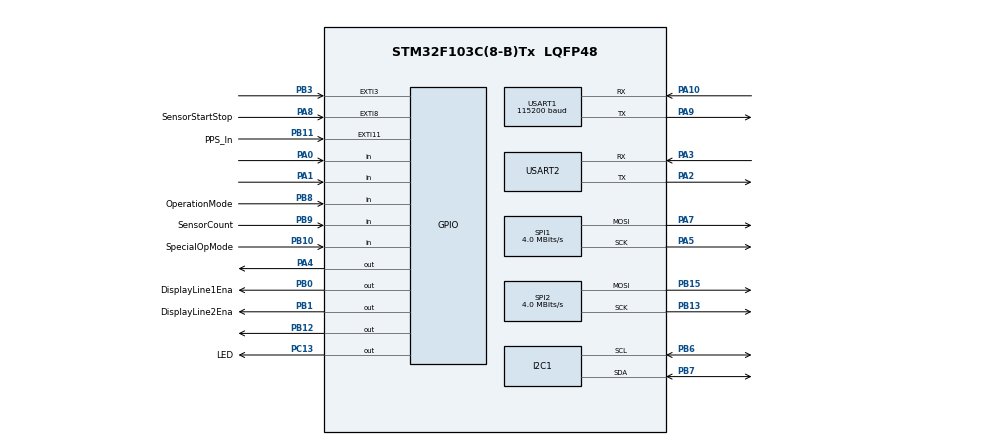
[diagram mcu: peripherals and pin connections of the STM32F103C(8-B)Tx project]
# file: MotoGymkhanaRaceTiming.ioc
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Mcu.Family=STM32F1
Mcu.Name=STM32F103C(8-B)Tx
Mcu.Package=LQFP48
NVIC.EXTI15_10_IRQn=true\:2\:0\:true\:false\:true\:true\:true
NVIC.EXTI3_IRQn=true\:1\:0\:true\:false\:true\:true\:true
NVIC.EXTI9_5_IRQn=true\:2\:0\:true\:false\:true\:true\:true
NVIC.PriorityGroup=NVIC_PRIORITYGROUP_4
NVIC.TIM2_IRQn=true\:0\:0\:false\:false\:true\:true\:true
NVIC.USART1_IRQn=true\:3\:0\:true\:false\:true\:true\:true
NVIC.USART2_IRQn=true\:3\:0\:true\:false\:true\:true\:true
PA0-WKUP.Signal=GPIO_Input
PA1.Signal=GPIO_Input
PA10.Mode=Asynchronous
PA10.Signal=USART1_RX
PA13.Mode=Serial_Wire
PA13.Signal=SYS_JTMS-SWDIO
PA14.Mode=Serial_Wire
PA14.Signal=SYS_JTCK-SWCLK
PA2.Mode=Asynchronous
PA2.Signal=USART2_TX
PA3.Mode=Asynchronous
PA3.Signal=USART2_RX
PA4.Signal=GPIO_Output
PA5.Mode=TX_Only_Simplex_Unidirect_Master
PA5.Signal=SPI1_SCK
PA7.Mode=TX_Only_Simplex_Unidirect_Master
PA7.Signal=SPI1_MOSI
PA8.GPIO_Label=SensorStartStop
PA8.GPIO_PuPd=GPIO_PULLDOWN
PA8.Signal=GPXTI8
PA9.Mode=Asynchronous
PA9.Signal=USART1_TX
PB0.GPIO_Label=DisplayLine1Ena
PB0.GPIO_PuPd=GPIO_NOPULL
PB0.PinState=GPIO_PIN_RESET
PB0.Signal=GPIO_Output
PB1.GPIO_Label=DisplayLine2Ena
PB1.GPIO_PuPd=GPIO_NOPULL
PB1.Signal=GPIO_Output
PB10.GPIO_Label=SpecialOpMode
PB10.GPIO_PuPd=GPIO_PULLDOWN
PB10.Signal=GPIO_Input
PB11.GPIO_Label=PPS_In
PB11.GPIO_PuPd=GPIO_PULLDOWN
PB11.Signal=GPXTI11
PB12.Signal=GPIO_Output
PB13.Mode=TX_Only_Simplex_Unidirect_Master
PB13.Signal=SPI2_SCK
PB15.Mode=TX_Only_Simplex_Unidirect_Master
PB15.Signal=SPI2_MOSI
PB3.GPIO_PuPd=GPIO_PULLDOWN
PB3.Signal=GPXTI3
PB6.Mode=I2C
PB6.Signal=I2C1_SCL
PB7.Mode=I2C
PB7.Signal=I2C1_SDA
PB8.GPIO_Label=OperationMode
PB8.GPIO_PuPd=GPIO_PULLDOWN
PB8.Signal=GPIO_Input
PB9.GPIO_Label=SensorCount
PB9.GPIO_PuPd=GPIO_PULLDOWN
PB9.Signal=GPIO_Input
PC13-TAMPER-RTC.GPIO_Label=LED
PC13-TAMPER-RTC.Signal=GPIO_Output
PC14-OSC32_IN.Mode=LSE-External-Oscillator
PC14-OSC32_IN.Signal=RCC_OSC32_IN
PC15-OSC32_OUT.Mode=LSE-External-Oscillator
PC15-OSC32_OUT.Signal=RCC_OSC32_OUT
PD0-OSC_IN.Mode=HSE-External-Oscillator
PD0-OSC_IN.Signal=RCC_OSC_IN
PD1-OSC_OUT.Mode=HSE-External-Oscillator
PD1-OSC_OUT.Signal=RCC_OSC_OUT
ProjectManager.HeapSize=0x200
ProjectManager.StackSize=0x400
ProjectManager.TargetToolchain=STM32CubeIDE
RCC.AHBFreq_Value=32000000
RCC.APB1Freq_Value=32000000
RCC.APB1TimFreq_Value=32000000
RCC.APB2Freq_Value=32000000
RCC.APB2TimFreq_Value=32000000
RCC.HCLKFreq_Value=32000000
RCC.HSICalibrationValue=8
RCC.PLLMUL=RCC_PLL_MUL4
RCC.PLLSourceVirtual=RCC_PLLSOURCE_HSE
RCC.SYSCLKFreq_VALUE=32000000
RCC.SYSCLKSource=RCC_SYSCLKSOURCE_PLLCLK
RCC.USBFreq_Value=32000000
SPI1.BaudRatePrescaler=SPI_BAUDRATEPRESCALER_8
SPI1.CalculateBaudRate=4.0 MBits/s
SPI1.DataSize=SPI_DATASIZE_16BIT
SPI1.Direction=SPI_DIRECTION_2LINES
SPI1.Mode=SPI_MODE_MASTER
SPI1.VirtualType=VM_MASTER
SPI2.BaudRatePrescaler=SPI_BAUDRATEPRESCALER_8
SPI2.CalculateBaudRate=4.0 MBits/s
SPI2.DataSize=SPI_DATASIZE_16BIT
SPI2.Direction=SPI_DIRECTION_2LINES
SPI2.Mode=SPI_MODE_MASTER
SPI2.VirtualType=VM_MASTER
TIM2.AutoReloadPreload=TIM_AUTORELOAD_PRELOAD_ENABLE
TIM2.Period=99
TIM2.Prescaler=31
USART1.BaudRate=115200
USART1.VirtualMode=VM_ASYNC
USART2.VirtualMode=VM_ASYNC
VP_TIM2_VS_ClockSourceINT.Mode=Internal
board=custom

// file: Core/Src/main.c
/* USER CODE BEGIN Header */
/**
  ******************************************************************************
  * @file           : main.c
  * @brief          : Main program body
  ******************************************************************************
  * @attention
  *
  * <h2><center>&copy; Copyright (c) 2020 STMicroelectronics.
  * All rights reserved.</center></h2>
  *
  * This software component is licensed by ST under BSD 3-Clause license,
  * the "License"; You may not use this file except in compliance with the
  * License. You may obtain a copy of the License at:
  *                        opensource.org/licenses/BSD-3-Clause
  *
  ******************************************************************************
  */
/* USER CODE END Header */

#include "main.h"

/* USER CODE BEGIN Includes */
#include "TimeMgmt.h"
#include "Configuration.h"
#include "RaceTiming.h"
#include "Inputs.h"
#include "UARTBuffer.h"
#include <string.h>
/* USER CODE END Includes */

/* USER CODE BEGIN PV */
uint8_t uartData[14] = {0};
volatile uint8_t uartTxIndex = 0;

/* USER CODE END PV */

void SystemClock_Config(void);
static void MX_GPIO_Init(void);
static void MX_USART1_UART_Init(void);
static void MX_TIM2_Init(void);
static void MX_I2C1_Init(void);
static void MX_SPI2_Init(void);
static void MX_SPI1_Init(void);
static void MX_USART2_UART_Init(void);

int main(void)
{

    /* MCU Configuration--------------------------------------------------------*/

    /* Reset of all peripherals, Initializes the Flash interface and the Systick. */

    LL_APB2_GRP1_EnableClock(LL_APB2_GRP1_PERIPH_AFIO);
    LL_APB1_GRP1_EnableClock(LL_APB1_GRP1_PERIPH_PWR);

    NVIC_SetPriorityGrouping(NVIC_PRIORITYGROUP_4);

    /* System interrupt init*/

    /** NOJTAG: JTAG-DP Disabled and SW-DP Enabled
    */
    LL_GPIO_AF_Remap_SWJ_NOJTAG();

    /* Configure the system clock */
    SystemClock_Config();

    /* Initialize all configured peripherals */
    MX_GPIO_Init();
    MX_USART1_UART_Init();
    MX_TIM2_Init();
    MX_I2C1_Init();
    MX_SPI2_Init();
    MX_SPI1_Init();
    MX_USART2_UART_Init();
    /* USER CODE BEGIN 2 */
    LL_TIM_EnableIT_UPDATE(TIM2);
    LL_TIM_EnableCounter(TIM2);
    LL_I2C_Enable(I2C1);
    LL_GPIO_SetOutputPin(GPIOA, LL_GPIO_PIN_4);
    LL_GPIO_SetOutputPin(GPIOB, LL_GPIO_PIN_12);
    LL_SPI_Enable(SPI2);
    LL_SPI_Enable(SPI1);
    LL_USART_DisableIT_RXNE(USART2);
    InitInputs();
    //LL_EXTI_EnableRisingTrig_0_31(LL_EXTI_LINE_11);
    //LL_EXTI_EnableRisingTrig_0_31(LL_EXTI_LINE_8);
    //LL_EXTI_EnableRisingTrig_0_31(LL_EXTI_LINE_3);

    /* USER CODE END 2 */

    /* Infinite loop */
    while(1)
    {

        /* USER CODE BEGIN 3 */
        UpdateAllInputs();
        if(ppsTick == 1U)
        {
            LL_GPIO_TogglePin(GPIOC, LL_GPIO_PIN_13);
            ppsTick = 0U;
        }

        if(enableDisplayLines != 0U)
        {
            LL_GPIO_SetOutputPin(DisplayLine1Ena_GPIO_Port, DisplayLine1Ena_Pin);
            LL_GPIO_SetOutputPin(DisplayLine2Ena_GPIO_Port, DisplayLine2Ena_Pin);
        }
        else
        {
            LL_GPIO_ResetOutputPin(DisplayLine1Ena_GPIO_Port, DisplayLine1Ena_Pin);
            LL_GPIO_ResetOutputPin(DisplayLine2Ena_GPIO_Port, DisplayLine2Ena_Pin);
        }

        if(autoConfigurationDone == 0U)
        {
            RunAutoConfiguration();
        }
        else
        {
            RunRaceTiming();

            UARTBufferRunTxWork();

        }
    }
    /* USER CODE END 3 */
}

void SystemClock_Config(void)
{
    LL_FLASH_SetLatency(LL_FLASH_LATENCY_1);

    if(LL_FLASH_GetLatency() != LL_FLASH_LATENCY_1)
    {
        Error_Handler();
    }
    LL_RCC_HSE_Enable();

    /* Wait till HSE is ready */
    while(LL_RCC_HSE_IsReady() != 1)
    {

    }
    LL_RCC_PLL_ConfigDomain_SYS(LL_RCC_PLLSOURCE_HSE_DIV_1, LL_RCC_PLL_MUL_4);
    LL_RCC_PLL_Enable();

    /* Wait till PLL is ready */
    while(LL_RCC_PLL_IsReady() != 1)
    {

    }
    LL_RCC_SetAHBPrescaler(LL_RCC_SYSCLK_DIV_1);
    LL_RCC_SetAPB1Prescaler(LL_RCC_APB1_DIV_1);
    LL_RCC_SetAPB2Prescaler(LL_RCC_APB2_DIV_1);
    LL_RCC_SetSysClkSource(LL_RCC_SYS_CLKSOURCE_PLL);

    /* Wait till System clock is ready */
    while(LL_RCC_GetSysClkSource() != LL_RCC_SYS_CLKSOURCE_STATUS_PLL)
    {

    }
    LL_Init1msTick(32000000);
    LL_SetSystemCoreClock(32000000);
}

static void MX_I2C1_Init(void)
{

    LL_I2C_InitTypeDef I2C_InitStruct = {0};

    LL_GPIO_InitTypeDef GPIO_InitStruct = {0};

    LL_APB2_GRP1_EnableClock(LL_APB2_GRP1_PERIPH_GPIOB);
    /**I2C1 GPIO Configuration
    PB6   ------> I2C1_SCL
    PB7   ------> I2C1_SDA
    */
    GPIO_InitStruct.Pin = LL_GPIO_PIN_6 | LL_GPIO_PIN_7;
    GPIO_InitStruct.Mode = LL_GPIO_MODE_ALTERNATE;
    GPIO_InitStruct.Speed = LL_GPIO_SPEED_FREQ_HIGH;
    GPIO_InitStruct.OutputType = LL_GPIO_OUTPUT_OPENDRAIN;
    LL_GPIO_Init(GPIOB, &GPIO_InitStruct);

    /* Peripheral clock enable */
    LL_APB1_GRP1_EnableClock(LL_APB1_GRP1_PERIPH_I2C1);

    /** I2C Initialization
    */
    LL_I2C_DisableOwnAddress2(I2C1);
    LL_I2C_DisableGeneralCall(I2C1);
    LL_I2C_EnableClockStretching(I2C1);
    I2C_InitStruct.PeripheralMode = LL_I2C_MODE_I2C;
    I2C_InitStruct.ClockSpeed = 100000;
    I2C_InitStruct.DutyCycle = LL_I2C_DUTYCYCLE_2;
    I2C_InitStruct.OwnAddress1 = 0;
    I2C_InitStruct.TypeAcknowledge = LL_I2C_ACK;
    I2C_InitStruct.OwnAddrSize = LL_I2C_OWNADDRESS1_7BIT;
    LL_I2C_Init(I2C1, &I2C_InitStruct);
    LL_I2C_SetOwnAddress2(I2C1, 0);

}

static void MX_SPI1_Init(void)
{

    LL_SPI_InitTypeDef SPI_InitStruct = {0};

    LL_GPIO_InitTypeDef GPIO_InitStruct = {0};

    /* Peripheral clock enable */
    LL_APB2_GRP1_EnableClock(LL_APB2_GRP1_PERIPH_SPI1);

    LL_APB2_GRP1_EnableClock(LL_APB2_GRP1_PERIPH_GPIOA);
    /**SPI1 GPIO Configuration
    PA5   ------> SPI1_SCK
    PA7   ------> SPI1_MOSI
    */
    GPIO_InitStruct.Pin = LL_GPIO_PIN_5 | LL_GPIO_PIN_7;
    GPIO_InitStruct.Mode = LL_GPIO_MODE_ALTERNATE;
    GPIO_InitStruct.Speed = LL_GPIO_SPEED_FREQ_HIGH;
    GPIO_InitStruct.OutputType = LL_GPIO_OUTPUT_PUSHPULL;
    LL_GPIO_Init(GPIOA, &GPIO_InitStruct);

    /* SPI1 parameter configuration*/
    SPI_InitStruct.TransferDirection = LL_SPI_FULL_DUPLEX;
    SPI_InitStruct.Mode = LL_SPI_MODE_MASTER;
    SPI_InitStruct.DataWidth = LL_SPI_DATAWIDTH_16BIT;
    SPI_InitStruct.ClockPolarity = LL_SPI_POLARITY_LOW;
    SPI_InitStruct.ClockPhase = LL_SPI_PHASE_1EDGE;
    SPI_InitStruct.NSS = LL_SPI_NSS_SOFT;
    SPI_InitStruct.BaudRate = LL_SPI_BAUDRATEPRESCALER_DIV8;
    SPI_InitStruct.BitOrder = LL_SPI_MSB_FIRST;
    SPI_InitStruct.CRCCalculation = LL_SPI_CRCCALCULATION_DISABLE;
    SPI_InitStruct.CRCPoly = 10;
    LL_SPI_Init(SPI1, &SPI_InitStruct);

}

static void MX_SPI2_Init(void)
{

    LL_SPI_InitTypeDef SPI_InitStruct = {0};

    LL_GPIO_InitTypeDef GPIO_InitStruct = {0};

    /* Peripheral clock enable */
    LL_APB1_GRP1_EnableClock(LL_APB1_GRP1_PERIPH_SPI2);

    LL_APB2_GRP1_EnableClock(LL_APB2_GRP1_PERIPH_GPIOB);
    /**SPI2 GPIO Configuration
    PB13   ------> SPI2_SCK
    PB15   ------> SPI2_MOSI
    */
    GPIO_InitStruct.Pin = LL_GPIO_PIN_13 | LL_GPIO_PIN_15;
    GPIO_InitStruct.Mode = LL_GPIO_MODE_ALTERNATE;
    GPIO_InitStruct.Speed = LL_GPIO_SPEED_FREQ_HIGH;
    GPIO_InitStruct.OutputType = LL_GPIO_OUTPUT_PUSHPULL;
    LL_GPIO_Init(GPIOB, &GPIO_InitStruct);

    /* SPI2 parameter configuration*/
    SPI_InitStruct.TransferDirection = LL_SPI_FULL_DUPLEX;
    SPI_InitStruct.Mode = LL_SPI_MODE_MASTER;
    SPI_InitStruct.DataWidth = LL_SPI_DATAWIDTH_16BIT;
    SPI_InitStruct.ClockPolarity = LL_SPI_POLARITY_LOW;
    SPI_InitStruct.ClockPhase = LL_SPI_PHASE_1EDGE;
    SPI_InitStruct.NSS = LL_SPI_NSS_SOFT;
    SPI_InitStruct.BaudRate = LL_SPI_BAUDRATEPRESCALER_DIV8;
    SPI_InitStruct.BitOrder = LL_SPI_MSB_FIRST;
    SPI_InitStruct.CRCCalculation = LL_SPI_CRCCALCULATION_DISABLE;
    SPI_InitStruct.CRCPoly = 10;
    LL_SPI_Init(SPI2, &SPI_InitStruct);

}

static void MX_TIM2_Init(void)
{

    LL_TIM_InitTypeDef TIM_InitStruct = {0};

    /* Peripheral clock enable */
    LL_APB1_GRP1_EnableClock(LL_APB1_GRP1_PERIPH_TIM2);

    /* TIM2 interrupt Init */
    NVIC_SetPriority(TIM2_IRQn, NVIC_EncodePriority(NVIC_GetPriorityGrouping(), 0, 0));
    NVIC_EnableIRQ(TIM2_IRQn);

    TIM_InitStruct.Prescaler = 31;
    TIM_InitStruct.CounterMode = LL_TIM_COUNTERMODE_UP;
    TIM_InitStruct.Autoreload = 99;
    TIM_InitStruct.ClockDivision = LL_TIM_CLOCKDIVISION_DIV1;
    LL_TIM_Init(TIM2, &TIM_InitStruct);
    LL_TIM_EnableARRPreload(TIM2);
    LL_TIM_SetClockSource(TIM2, LL_TIM_CLOCKSOURCE_INTERNAL);
    LL_TIM_SetTriggerOutput(TIM2, LL_TIM_TRGO_RESET);
    LL_TIM_DisableMasterSlaveMode(TIM2);

}

static void MX_USART1_UART_Init(void)
{

    LL_USART_InitTypeDef USART_InitStruct = {0};

    LL_GPIO_InitTypeDef GPIO_InitStruct = {0};

    /* Peripheral clock enable */
    LL_APB2_GRP1_EnableClock(LL_APB2_GRP1_PERIPH_USART1);

    LL_APB2_GRP1_EnableClock(LL_APB2_GRP1_PERIPH_GPIOA);
    /**USART1 GPIO Configuration
    PA9   ------> USART1_TX
    PA10   ------> USART1_RX
    */
    GPIO_InitStruct.Pin = LL_GPIO_PIN_9;
    GPIO_InitStruct.Mode = LL_GPIO_MODE_ALTERNATE;
    GPIO_InitStruct.Speed = LL_GPIO_SPEED_FREQ_HIGH;
    GPIO_InitStruct.OutputType = LL_GPIO_OUTPUT_PUSHPULL;
    LL_GPIO_Init(GPIOA, &GPIO_InitStruct);

    GPIO_InitStruct.Pin = LL_GPIO_PIN_10;
    GPIO_InitStruct.Mode = LL_GPIO_MODE_FLOATING;
    LL_GPIO_Init(GPIOA, &GPIO_InitStruct);

    /* USART1 interrupt Init */
    NVIC_SetPriority(USART1_IRQn, NVIC_EncodePriority(NVIC_GetPriorityGrouping(), 3, 0));
    NVIC_EnableIRQ(USART1_IRQn);

    USART_InitStruct.BaudRate = 115200;
    USART_InitStruct.DataWidth = LL_USART_DATAWIDTH_8B;
    USART_InitStruct.StopBits = LL_USART_STOPBITS_1;
    USART_InitStruct.Parity = LL_USART_PARITY_NONE;
    USART_InitStruct.TransferDirection = LL_USART_DIRECTION_TX_RX;
    USART_InitStruct.HardwareFlowControl = LL_USART_HWCONTROL_NONE;
    USART_InitStruct.OverSampling = LL_USART_OVERSAMPLING_16;
    LL_USART_Init(USART1, &USART_InitStruct);
    LL_USART_ConfigAsyncMode(USART1);
    LL_USART_Enable(USART1);
    /* USER CODE BEGIN USART1_Init 2 */
    UARTBuffer* buff = UARTBufferGetUART(0);
    if(buff != (UARTBuffer*)0)
    {
        buff->uartHandle = USART1;
        LL_USART_EnableIT_RXNE(buff->uartHandle);
    }
    /* USER CODE END USART1_Init 2 */

}

static void MX_USART2_UART_Init(void)
{

    LL_USART_InitTypeDef USART_InitStruct = {0};

    LL_GPIO_InitTypeDef GPIO_InitStruct = {0};

    /* Peripheral clock enable */
    LL_APB1_GRP1_EnableClock(LL_APB1_GRP1_PERIPH_USART2);

    LL_APB2_GRP1_EnableClock(LL_APB2_GRP1_PERIPH_GPIOA);
    /**USART2 GPIO Configuration
    PA2   ------> USART2_TX
    PA3   ------> USART2_RX
    */
    GPIO_InitStruct.Pin = LL_GPIO_PIN_2;
    GPIO_InitStruct.Mode = LL_GPIO_MODE_ALTERNATE;
    GPIO_InitStruct.Speed = LL_GPIO_SPEED_FREQ_HIGH;
    GPIO_InitStruct.OutputType = LL_GPIO_OUTPUT_PUSHPULL;
    LL_GPIO_Init(GPIOA, &GPIO_InitStruct);

    GPIO_InitStruct.Pin = LL_GPIO_PIN_3;
    GPIO_InitStruct.Mode = LL_GPIO_MODE_FLOATING;
    LL_GPIO_Init(GPIOA, &GPIO_InitStruct);

    /* USART2 interrupt Init */
    NVIC_SetPriority(USART2_IRQn, NVIC_EncodePriority(NVIC_GetPriorityGrouping(), 3, 0));
    NVIC_EnableIRQ(USART2_IRQn);

    USART_InitStruct.BaudRate = 115200;
    USART_InitStruct.DataWidth = LL_USART_DATAWIDTH_8B;
    USART_InitStruct.StopBits = LL_USART_STOPBITS_1;
    USART_InitStruct.Parity = LL_USART_PARITY_NONE;
    USART_InitStruct.TransferDirection = LL_USART_DIRECTION_TX_RX;
    USART_InitStruct.HardwareFlowControl = LL_USART_HWCONTROL_NONE;
    USART_InitStruct.OverSampling = LL_USART_OVERSAMPLING_16;
    LL_USART_Init(USART2, &USART_InitStruct);
    LL_USART_ConfigAsyncMode(USART2);
    LL_USART_Enable(USART2);
    /* USER CODE BEGIN USART2_Init 2 */
    UARTBuffer* buff = UARTBufferGetUART(1);
    if(buff != (UARTBuffer*)0)
    {
        buff->uartHandle = USART2;
        LL_USART_EnableIT_RXNE(buff->uartHandle);
    }

    /* USER CODE END USART2_Init 2 */

}

static void MX_GPIO_Init(void)
{
    LL_EXTI_InitTypeDef EXTI_InitStruct = {0};
    LL_GPIO_InitTypeDef GPIO_InitStruct = {0};

    /* GPIO Ports Clock Enable */
    LL_APB2_GRP1_EnableClock(LL_APB2_GRP1_PERIPH_GPIOC);
    LL_APB2_GRP1_EnableClock(LL_APB2_GRP1_PERIPH_GPIOD);
    LL_APB2_GRP1_EnableClock(LL_APB2_GRP1_PERIPH_GPIOA);
    LL_APB2_GRP1_EnableClock(LL_APB2_GRP1_PERIPH_GPIOB);

    /**/
    LL_GPIO_ResetOutputPin(LED_GPIO_Port, LED_Pin);

    /**/
    LL_GPIO_ResetOutputPin(GPIOA, LL_GPIO_PIN_4);

    /**/
    LL_GPIO_ResetOutputPin(GPIOB, DisplayLine1Ena_Pin | DisplayLine2Ena_Pin | LL_GPIO_PIN_12);

    /**/
    GPIO_InitStruct.Pin = LED_Pin;
    GPIO_InitStruct.Mode = LL_GPIO_MODE_OUTPUT;
    GPIO_InitStruct.Speed = LL_GPIO_SPEED_FREQ_LOW;
    GPIO_InitStruct.OutputType = LL_GPIO_OUTPUT_PUSHPULL;
    LL_GPIO_Init(LED_GPIO_Port, &GPIO_InitStruct);

    /**/
    GPIO_InitStruct.Pin = LL_GPIO_PIN_0 | LL_GPIO_PIN_1;
    GPIO_InitStruct.Mode = LL_GPIO_MODE_FLOATING;
    LL_GPIO_Init(GPIOA, &GPIO_InitStruct);

    /**/
    GPIO_InitStruct.Pin = LL_GPIO_PIN_4;
    GPIO_InitStruct.Mode = LL_GPIO_MODE_OUTPUT;
    GPIO_InitStruct.Speed = LL_GPIO_SPEED_FREQ_LOW;
    GPIO_InitStruct.OutputType = LL_GPIO_OUTPUT_PUSHPULL;
    LL_GPIO_Init(GPIOA, &GPIO_InitStruct);

    /**/
    GPIO_InitStruct.Pin = DisplayLine1Ena_Pin | DisplayLine2Ena_Pin | LL_GPIO_PIN_12;
    GPIO_InitStruct.Mode = LL_GPIO_MODE_OUTPUT;
    GPIO_InitStruct.Speed = LL_GPIO_SPEED_FREQ_LOW;
    GPIO_InitStruct.OutputType = LL_GPIO_OUTPUT_PUSHPULL;
    LL_GPIO_Init(GPIOB, &GPIO_InitStruct);

    /**/
    GPIO_InitStruct.Pin = SpecialOpMode_Pin | OperationMode_Pin | SensorCount_Pin;
    GPIO_InitStruct.Mode = LL_GPIO_MODE_INPUT;
    GPIO_InitStruct.Pull = LL_GPIO_PULL_DOWN;
    LL_GPIO_Init(GPIOB, &GPIO_InitStruct);

    /**/
    LL_GPIO_AF_SetEXTISource(LL_GPIO_AF_EXTI_PORTB, LL_GPIO_AF_EXTI_LINE11);

    /**/
    LL_GPIO_AF_SetEXTISource(LL_GPIO_AF_EXTI_PORTA, LL_GPIO_AF_EXTI_LINE8);

    /**/
    LL_GPIO_AF_SetEXTISource(LL_GPIO_AF_EXTI_PORTB, LL_GPIO_AF_EXTI_LINE3);

    /**/
    EXTI_InitStruct.Line_0_31 = LL_EXTI_LINE_11;
    EXTI_InitStruct.LineCommand = ENABLE;
    EXTI_InitStruct.Mode = LL_EXTI_MODE_IT;
    EXTI_InitStruct.Trigger = LL_EXTI_TRIGGER_RISING;
    LL_EXTI_Init(&EXTI_InitStruct);

    /**/
    EXTI_InitStruct.Line_0_31 = LL_EXTI_LINE_8;
    EXTI_InitStruct.LineCommand = ENABLE;
    EXTI_InitStruct.Mode = LL_EXTI_MODE_IT;
    EXTI_InitStruct.Trigger = LL_EXTI_TRIGGER_RISING;
    LL_EXTI_Init(&EXTI_InitStruct);

    /**/
    EXTI_InitStruct.Line_0_31 = LL_EXTI_LINE_3;
    EXTI_InitStruct.LineCommand = ENABLE;
    EXTI_InitStruct.Mode = LL_EXTI_MODE_IT;
    EXTI_InitStruct.Trigger = LL_EXTI_TRIGGER_RISING;
    LL_EXTI_Init(&EXTI_InitStruct);

    /**/
    LL_GPIO_SetPinPull(PPS_In_GPIO_Port, PPS_In_Pin, LL_GPIO_PULL_DOWN);

    /**/
    LL_GPIO_SetPinPull(SensorStartStop_GPIO_Port, SensorStartStop_Pin, LL_GPIO_PULL_DOWN);

    /**/
    LL_GPIO_SetPinPull(GPIOB, LL_GPIO_PIN_3, LL_GPIO_PULL_DOWN);

    /**/
    LL_GPIO_SetPinMode(PPS_In_GPIO_Port, PPS_In_Pin, LL_GPIO_MODE_INPUT);

    /**/
    LL_GPIO_SetPinMode(SensorStartStop_GPIO_Port, SensorStartStop_Pin, LL_GPIO_MODE_INPUT);

    /**/
    LL_GPIO_SetPinMode(GPIOB, LL_GPIO_PIN_3, LL_GPIO_MODE_INPUT);

    /* EXTI interrupt init*/
    NVIC_SetPriority(EXTI3_IRQn, NVIC_EncodePriority(NVIC_GetPriorityGrouping(), 1, 0));
    NVIC_EnableIRQ(EXTI3_IRQn);
    NVIC_SetPriority(EXTI9_5_IRQn, NVIC_EncodePriority(NVIC_GetPriorityGrouping(), 2, 0));
    NVIC_EnableIRQ(EXTI9_5_IRQn);
    NVIC_SetPriority(EXTI15_10_IRQn, NVIC_EncodePriority(NVIC_GetPriorityGrouping(), 2, 0));
    NVIC_EnableIRQ(EXTI15_10_IRQn);

}

/* USER CODE BEGIN 4 */

void ProcessUARTByte(uint8_t uartId, uint8_t uartByte)
{
    UARTBufferProcessReceivedByte(UARTBufferGetUART(uartId), uartByte);
}

/* USER CODE END 4 */

void Error_Handler(void)
{
}

/************************ (C) COPYRIGHT STMicroelectronics *****END OF FILE****/
